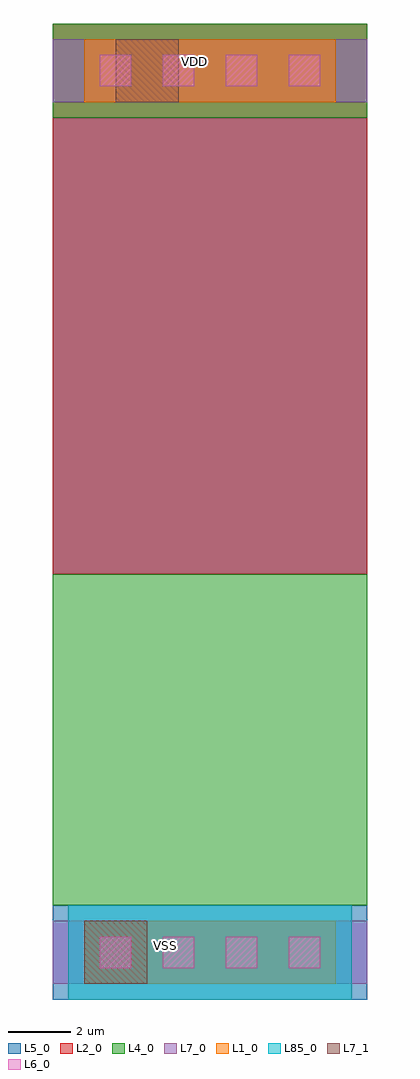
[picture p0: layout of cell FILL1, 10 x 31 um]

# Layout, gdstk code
import gdstk
lib = gdstk.Library(unit=1e-6, precision=5e-10)
def R(c, l, rs):  # rectangles x0, y0, x1, y1
    for r in rs: c.add(gdstk.rectangle(r[:2], r[2:], *l))
def A(c, l, x, y, w, h, nx, ny, dx, dy):  # array of equal rectangles
    R(c, l, [(x+i*dx, y+j*dy, x+i*dx+w, y+j*dy+h) for i in range(nx) for j in range(ny)])
L1_0 = (1, 0)
L2_0 = (2, 0)
L4_0 = (4, 0)
L5_0 = (5, 0)
L6_0 = (6, 0)
L7_0 = (7, 0)
L7_1 = (7, 1)
L85_0 = (85, 0)

m1_psub_cdns_1 = lib.new_cell('M1_PSUB_CDNS_1')
R(m1_psub_cdns_1, L1_0, [(-4,-1,4,1)])
R(m1_psub_cdns_1, L5_0, [(-4.5,-1.5,4.5,1.5)])
A(m1_psub_cdns_1, L6_0, -3.5, -0.5, 1, 1, 4, 1, 2, 0)
R(m1_psub_cdns_1, L7_0, [(-4,-1,4,1)])
R(m1_psub_cdns_1, L85_0, [(-4.5,-1.5,4.5,1.5)])

m1_nwell_cdns_2 = lib.new_cell('M1_NWELL_CDNS_2')
R(m1_nwell_cdns_2, L1_0, [(-4,-1,4,1)])
R(m1_nwell_cdns_2, L2_0, [(-4.5,-1.5,4.5,1.5)])
R(m1_nwell_cdns_2, L4_0, [(-4.5,-1.5,4.5,1.5)])
A(m1_nwell_cdns_2, L6_0, -3.5, -0.5, 1, 1, 4, 1, 2, 0)
R(m1_nwell_cdns_2, L7_0, [(-4,-1,4,1)])

fill1 = lib.new_cell('FILL1')
R(fill1, L2_0, [(0,12,10,29.5)])
R(fill1, L4_0, [(0,1.5,10,12), (0,26.5,10,29.5)])
R(fill1, L5_0, [(0,-1.5,10,1.5), (0,12,10,26.5)])
R(fill1, L7_0, [(0,-1,10,1), (0,27,10,29)])
R(fill1, L7_1, [(1,-1,3,1), (2,27,4,29)])
fill1.add(gdstk.Reference(m1_psub_cdns_1, (5,0)))
fill1.add(gdstk.Reference(m1_nwell_cdns_2, (5,28)))
fill1.add(gdstk.Label('VSS', (3.6,0.2), layer=7, texttype=3))
fill1.add(gdstk.Label('VDD', (4.5,28.3), layer=7, texttype=3))

lib.write_gds('FILL1.gds')
